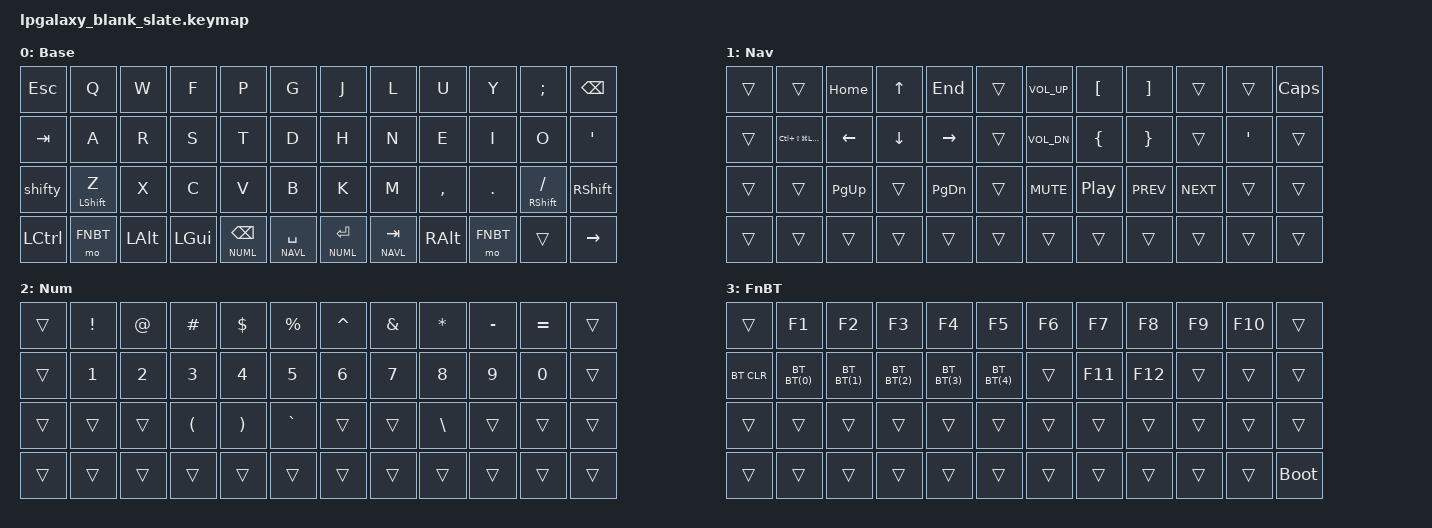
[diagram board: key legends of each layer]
/*
 * Copyright (c) 2022 Pete Johanson
 *
 * SPDX-License-Identifier: MIT
 */

#include <behaviors.dtsi>
#include <dt-bindings/zmk/keys.h>
#include <dt-bindings/zmk/bt.h>
#include <dt-bindings/zmk/outputs.h>

#define NAVL 1 // navigation layer
#define NUML 2 // number and symbol layer
#define FNBT 3 // function and bluetooth control layer

// Using layer taps on thumbs, having quick tap as well helps w/ repeating space/backspace
&lt { quick_tap_ms = <200>; };

#define BT(n) BT_SEL n
#define HYPR  LC(LS(LG(LALT)))

/ {
    chosen {
       zmk,matrix_transform = &ortho_transform;
    };

    // macros {
    //     ZMK_MACRO(
    //         thumbs_up,
	// 	    wait-ms = <1>;
	// 	    tap-ms = <5>;
    //         bindings = <&kp PLUS &kp COLON &kp PLUS &kp N1 &kp COLON &kp RET>;
    //     )
    // };
    combos {
        compatible = "zmk,combos";
        combo_esc {
            timeout-ms = <50>;
            key-positions = <10 11>;
            bindings = <&kp DEL>;
        };
    };
    
    tap_dances {
    	shifty: shift_caps_word {
            compatible = "zmk,behavior-tap-dance";
            label = "TD_SHIFTY";
            #binding-cells = <0>;
            tapping-term-ms = <150>;
            bindings = <&kp LSHFT>, <&caps_word>;
        };
    };

    keymap {
        compatible = "zmk,keymap";

        base_layer {
            label = "Base";
            bindings = <
                &kp ESC    &kp Q        &kp W     &kp F     &kp P          &kp G           &kp J         &kp L        &kp U      &kp Y     &kp SEMI        &kp BKSP
                &kp TAB    &kp A        &kp R     &kp S     &kp T          &kp D           &kp H         &kp N        &kp E      &kp I     &kp O           &kp QUOT
                &shifty    &mt LSHFT Z  &kp X     &kp C     &kp V          &kp B           &kp K         &kp M        &kp COMMA  &kp DOT   &mt RSHFT FSLH  &kp RSHFT
                &kp LCTRL  &mo FNBT     &kp LALT  &kp LGUI  &lt NUML BSPC  &lt NAVL SPACE  &lt NUML RET  &lt NAVL TAB  &kp RALT  &mo FNBT  &trans          &kp RIGHT
            >;
        };

        nav_layer {
            label = "Nav";
            bindings = <
                &trans  &trans    &kp HOME  &kp UP    &kp END   &trans   &kp C_VOL_UP  &kp LBKT  &kp RBKT    &trans      &trans    &kp CAPS
                &trans  &kp HYPR  &kp LEFT  &kp DOWN  &kp RIGHT &trans   &kp C_VOL_DN  &kp LBRC  &kp RBRC    &trans      &kp SQT   &trans
                &trans  &trans    &kp PG_UP &trans    &kp PG_DN &trans   &kp C_MUTE    &kp C_PP  &kp C_PREV  &kp C_NEXT  &trans    &trans
                &trans  &trans    &trans    &trans    &trans    &trans   &trans        &trans    &trans      &trans      &trans    &trans
            >;
        };

        num_layer {
            label = "Num";
            bindings = <
                &trans  &kp EXCL  &kp AT  &kp HASH  &kp DLLR  &kp PRCNT  &kp CARET &kp AMPS  &kp STAR  &kp MINUS &kp EQUAL &trans
                &trans  &kp N1    &kp N2  &kp N3    &kp N4    &kp N5     &kp N6    &kp N7    &kp N8    &kp N9    &kp N0    &trans
                &trans  &trans    &trans  &kp LPAR  &kp RPAR  &kp GRAVE  &trans    &trans    &kp BSLH  &trans    &trans    &trans
                &trans  &trans    &trans  &trans    &trans    &trans     &trans    &trans    &trans    &trans    &trans    &trans
            >;
        };

        fnbt_layer {
            label = "FnBT";
            bindings = <
                &trans      &kp F1     &kp F2     &kp F3     &kp F4     &kp F5     &kp F6  &kp F7   &kp F8   &kp F9  &kp F10  &trans
                &bt BT_CLR  &bt BT(0)  &bt BT(1)  &bt BT(2)  &bt BT(3)  &bt BT(4)  &trans  &kp F11  &kp F12  &trans  &trans   &trans
                &trans      &trans     &trans     &trans     &trans     &trans     &trans  &trans   &trans   &trans  &trans   &trans
                &trans      &trans     &trans     &trans     &trans     &trans     &trans  &trans   &trans   &trans  &trans   &bootloader
            >;
        };
    };
};

